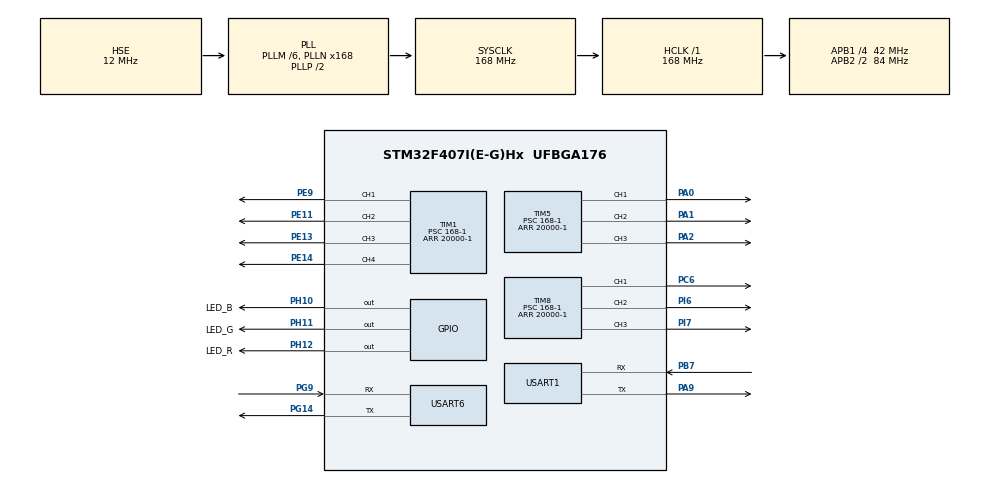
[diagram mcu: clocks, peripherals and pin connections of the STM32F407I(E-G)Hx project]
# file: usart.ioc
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Dma.Request0=USART1_RX
Dma.Request1=USART1_TX
Dma.USART1_RX.0.Direction=DMA_PERIPH_TO_MEMORY
Dma.USART1_RX.0.FIFOMode=DMA_FIFOMODE_DISABLE
Dma.USART1_RX.0.Instance=DMA2_Stream2
Dma.USART1_RX.0.MemDataAlignment=DMA_MDATAALIGN_BYTE
Dma.USART1_RX.0.MemInc=DMA_MINC_ENABLE
Dma.USART1_RX.0.Mode=DMA_NORMAL
Dma.USART1_RX.0.PeriphDataAlignment=DMA_PDATAALIGN_BYTE
Dma.USART1_RX.0.PeriphInc=DMA_PINC_DISABLE
Dma.USART1_RX.0.Priority=DMA_PRIORITY_LOW
Dma.USART1_TX.1.Direction=DMA_MEMORY_TO_PERIPH
Dma.USART1_TX.1.FIFOMode=DMA_FIFOMODE_DISABLE
Dma.USART1_TX.1.Instance=DMA2_Stream7
Dma.USART1_TX.1.MemDataAlignment=DMA_MDATAALIGN_BYTE
Dma.USART1_TX.1.MemInc=DMA_MINC_ENABLE
Dma.USART1_TX.1.Mode=DMA_NORMAL
Dma.USART1_TX.1.PeriphDataAlignment=DMA_PDATAALIGN_BYTE
Dma.USART1_TX.1.PeriphInc=DMA_PINC_DISABLE
Dma.USART1_TX.1.Priority=DMA_PRIORITY_LOW
Mcu.Family=STM32F4
Mcu.Name=STM32F407I(E-G)Hx
Mcu.Package=UFBGA176
NVIC.DMA2_Stream2_IRQn=true\:0\:0\:false\:false\:true\:false\:true\:true
NVIC.DMA2_Stream7_IRQn=true\:0\:0\:false\:false\:true\:false\:true\:true
NVIC.PriorityGroup=NVIC_PRIORITYGROUP_4
NVIC.USART1_IRQn=true\:0\:0\:false\:false\:false\:true\:true\:true
NVIC.USART6_IRQn=true\:0\:0\:false\:false\:false\:true\:true\:true
PA0-WKUP.Signal=S_TIM5_CH1
PA1.Signal=S_TIM5_CH2
PA13.Mode=Serial_Wire
PA13.Signal=SYS_JTMS-SWDIO
PA14.Mode=Serial_Wire
PA14.Signal=SYS_JTCK-SWCLK
PA2.Signal=S_TIM5_CH3
PA9.Mode=Asynchronous
PA9.Signal=USART1_TX
PB7.Mode=Asynchronous
PB7.Signal=USART1_RX
PC6.Signal=S_TIM8_CH1
PD5.Signal=USART2_TX
PD6.Signal=USART2_RX
PE11.Signal=S_TIM1_CH2
PE13.Signal=S_TIM1_CH3
PE14.Signal=S_TIM1_CH4
PE9.Signal=S_TIM1_CH1
PG14.Mode=Asynchronous
PG14.Signal=USART6_TX
PG9.Mode=Asynchronous
PG9.Signal=USART6_RX
PH0-OSC_IN.Mode=HSE-External-Oscillator
PH0-OSC_IN.Signal=RCC_OSC_IN
PH1-OSC_OUT.Mode=HSE-External-Oscillator
PH1-OSC_OUT.Signal=RCC_OSC_OUT
PH10.GPIO_Label=LED_B
PH10.GPIO_PuPd=GPIO_PULLUP
PH10.GPIO_Speed=GPIO_SPEED_FREQ_HIGH
PH10.PinState=GPIO_PIN_SET
PH10.Signal=GPIO_Output
PH11.GPIO_Label=LED_G
PH11.GPIO_PuPd=GPIO_PULLUP
PH11.GPIO_Speed=GPIO_SPEED_FREQ_HIGH
PH11.PinState=GPIO_PIN_SET
PH11.Signal=GPIO_Output
PH12.GPIO_Label=LED_R
PH12.GPIO_PuPd=GPIO_PULLUP
PH12.GPIO_Speed=GPIO_SPEED_FREQ_HIGH
PH12.PinState=GPIO_PIN_SET
PH12.Signal=GPIO_Output
PI6.Signal=S_TIM8_CH2
PI7.Signal=S_TIM8_CH3
ProjectManager.HeapSize=0x200
ProjectManager.StackSize=0x400
ProjectManager.TargetToolchain=MDK-ARM V5
RCC.48MHZClocksFreq_Value=84000000
RCC.AHBFreq_Value=168000000
RCC.APB1CLKDivider=RCC_HCLK_DIV4
RCC.APB1Freq_Value=42000000
RCC.APB1TimFreq_Value=84000000
RCC.APB2CLKDivider=RCC_HCLK_DIV2
RCC.APB2Freq_Value=84000000
RCC.APB2TimFreq_Value=168000000
RCC.CortexFreq_Value=168000000
RCC.HCLKFreq_Value=168000000
RCC.HSE_VALUE=12000000
RCC.HSI_VALUE=16000000
RCC.LSE_VALUE=32768
RCC.PLLM=6
RCC.PLLN=168
RCC.PLLSourceVirtual=RCC_PLLSOURCE_HSE
RCC.SYSCLKFreq_VALUE=168000000
RCC.SYSCLKSource=RCC_SYSCLKSOURCE_PLLCLK
RCC.VCOOutputFreq_Value=336000000
SH.S_TIM1_CH1.0=TIM1_CH1,PWM Generation1 CH1
SH.S_TIM1_CH2.0=TIM1_CH2,PWM Generation2 CH2
SH.S_TIM1_CH3.0=TIM1_CH3,PWM Generation3 CH3
SH.S_TIM1_CH4.0=TIM1_CH4,PWM Generation4 CH4
SH.S_TIM5_CH1.0=TIM5_CH1,PWM Generation1 CH1
SH.S_TIM5_CH2.0=TIM5_CH2,PWM Generation2 CH2
SH.S_TIM5_CH3.0=TIM5_CH3,PWM Generation3 CH3
SH.S_TIM8_CH1.0=TIM8_CH1,PWM Generation1 CH1
SH.S_TIM8_CH2.0=TIM8_CH2,PWM Generation2 CH2
SH.S_TIM8_CH3.0=TIM8_CH3,PWM Generation3 CH3
TIM1.AutoReloadPreload=TIM_AUTORELOAD_PRELOAD_ENABLE
TIM1.Channel-PWM\ Generation1\ CH1=TIM_CHANNEL_1
TIM1.Channel-PWM\ Generation2\ CH2=TIM_CHANNEL_2
TIM1.Channel-PWM\ Generation3\ CH3=TIM_CHANNEL_3
TIM1.Channel-PWM\ Generation4\ CH4=TIM_CHANNEL_4
TIM1.Period=20000-1
TIM1.Prescaler=168-1
TIM5.AutoReloadPreload=TIM_AUTORELOAD_PRELOAD_ENABLE
TIM5.Channel-PWM\ Generation1\ CH1=TIM_CHANNEL_1
TIM5.Channel-PWM\ Generation2\ CH2=TIM_CHANNEL_2
TIM5.Channel-PWM\ Generation3\ CH3=TIM_CHANNEL_3
TIM5.Period=20000-1
TIM5.Prescaler=168-1
TIM8.AutoReloadPreload=TIM_AUTORELOAD_PRELOAD_ENABLE
TIM8.Channel-PWM\ Generation1\ CH1=TIM_CHANNEL_1
TIM8.Channel-PWM\ Generation2\ CH2=TIM_CHANNEL_2
TIM8.Channel-PWM\ Generation3\ CH3=TIM_CHANNEL_3
TIM8.Period=20000-1
TIM8.Prescaler=168-1
USART1.VirtualMode=VM_ASYNC
USART6.VirtualMode=VM_ASYNC
VP_TIM1_VS_ClockSourceINT.Mode=Internal
VP_TIM5_VS_ClockSourceINT.Mode=Internal
board=custom

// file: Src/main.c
/* USER CODE BEGIN Header */
/**
  ******************************************************************************
  * @file           : main.c
  * @brief          : Main program body
  ******************************************************************************
  * @attention
  *
  * <h2><center>&copy; Copyright (c) 2019 STMicroelectronics.
  * All rights reserved.</center></h2>
  *
  * This software component is licensed by ST under BSD 3-Clause license,
  * the "License"; You may not use this file except in compliance with the
  * License. You may obtain a copy of the License at:
  *                        opensource.org/licenses/BSD-3-Clause
  *
  ******************************************************************************
  */
/* USER CODE END Header */
#include "main.h"
#include "dma.h"
#include "tim.h"
#include "usart.h"
#include "gpio.h"

/* USER CODE BEGIN PV */
extern uint8_t Flag;
extern uint8_t message[128];
uint32_t PWM_duty[7] = {100, 100, 100, 50, 50, 50, 50};
/* USER CODE END PV */

void SystemClock_Config(void);

/* USER CODE BEGIN 0 */
void LimitAmplitude(void)
{

}
/* USER CODE END 0 */

int main(void)
{

  /* MCU Configuration--------------------------------------------------------*/

  /* Reset of all peripherals, Initializes the Flash interface and the Systick. */
  HAL_Init();

  /* Configure the system clock */
  SystemClock_Config();

  /* Initialize all configured peripherals */
  MX_GPIO_Init();
  MX_DMA_Init();
  MX_USART1_UART_Init();
  MX_USART6_UART_Init();
  MX_TIM1_Init();
  MX_TIM8_Init();
  MX_TIM5_Init();
  /* USER CODE BEGIN 2 */

    HAL_GPIO_WritePin(LED_R_GPIO_Port, LED_R_Pin, GPIO_PIN_RESET);
    HAL_GPIO_WritePin(LED_G_GPIO_Port, LED_G_Pin, GPIO_PIN_RESET);
    HAL_GPIO_WritePin(LED_B_GPIO_Port, LED_B_Pin, GPIO_PIN_RESET);
    //enable receive interrupt and idle interrupt
    //ʹ�ܽ����жϺͿ����ж�
    __HAL_UART_ENABLE_IT(&huart1, UART_IT_RXNE);  //receive interrupt
    __HAL_UART_ENABLE_IT(&huart1, UART_IT_IDLE);  //idle interrupt
    __HAL_UART_ENABLE_IT(&huart6, UART_IT_RXNE);  //receive interrupt
    __HAL_UART_ENABLE_IT(&huart6, UART_IT_IDLE);  //idle interrupt

	//开启PWM通道
    HAL_TIM_Base_Start(&htim1);
    HAL_TIM_PWM_Start(&htim1, TIM_CHANNEL_1);
    HAL_TIM_PWM_Start(&htim1, TIM_CHANNEL_2);
    HAL_TIM_PWM_Start(&htim1, TIM_CHANNEL_3);
    HAL_TIM_PWM_Start(&htim1, TIM_CHANNEL_4);
    HAL_TIM_Base_Start(&htim8);
    HAL_TIM_PWM_Start(&htim8, TIM_CHANNEL_1);
    HAL_TIM_PWM_Start(&htim8, TIM_CHANNEL_2);
    HAL_TIM_PWM_Start(&htim8, TIM_CHANNEL_3);
	HAL_TIM_Base_Start(&htim5);
	HAL_TIM_PWM_Start(&htim5, TIM_CHANNEL_1);
    HAL_TIM_PWM_Start(&htim5, TIM_CHANNEL_2);
    HAL_TIM_PWM_Start(&htim5, TIM_CHANNEL_3);

	// 使用Ex函数，接收不定长数据
	HAL_UARTEx_ReceiveToIdle_DMA(&huart1, message, sizeof(message));
	// 关闭DMA传输过半中断（HAL库默认开启，但我们只需要接收完成中断）
	__HAL_DMA_DISABLE_IT(huart1.hdmarx, DMA_IT_HT);

  /* USER CODE END 2 */

  /* Infinite loop */
  /* USER CODE BEGIN WHILE */
  while (1)
  {
	  if (Flag)
	  {
		uint32_t tempdata = SetSepeedTarget();
		__HAL_TIM_SET_COMPARE(&htim1, TIM_CHANNEL_1, SetSepeedTarget());
		Flag = 0x00;
	  }

    /* USER CODE END WHILE */

  }
}

void SystemClock_Config(void)
{
  RCC_OscInitTypeDef RCC_OscInitStruct = {0};
  RCC_ClkInitTypeDef RCC_ClkInitStruct = {0};

  /** Configure the main internal regulator output voltage
  */
  __HAL_RCC_PWR_CLK_ENABLE();
  __HAL_PWR_VOLTAGESCALING_CONFIG(PWR_REGULATOR_VOLTAGE_SCALE1);

  /** Initializes the RCC Oscillators according to the specified parameters
  * in the RCC_OscInitTypeDef structure.
  */
  RCC_OscInitStruct.OscillatorType = RCC_OSCILLATORTYPE_HSE;
  RCC_OscInitStruct.HSEState = RCC_HSE_ON;
  RCC_OscInitStruct.PLL.PLLState = RCC_PLL_ON;
  RCC_OscInitStruct.PLL.PLLSource = RCC_PLLSOURCE_HSE;
  RCC_OscInitStruct.PLL.PLLM = 6;
  RCC_OscInitStruct.PLL.PLLN = 168;
  RCC_OscInitStruct.PLL.PLLP = RCC_PLLP_DIV2;
  RCC_OscInitStruct.PLL.PLLQ = 4;
  if (HAL_RCC_OscConfig(&RCC_OscInitStruct) != HAL_OK)
  {
    Error_Handler();
  }

  /** Initializes the CPU, AHB and APB buses clocks
  */
  RCC_ClkInitStruct.ClockType = RCC_CLOCKTYPE_HCLK|RCC_CLOCKTYPE_SYSCLK
                              |RCC_CLOCKTYPE_PCLK1|RCC_CLOCKTYPE_PCLK2;
  RCC_ClkInitStruct.SYSCLKSource = RCC_SYSCLKSOURCE_PLLCLK;
  RCC_ClkInitStruct.AHBCLKDivider = RCC_SYSCLK_DIV1;
  RCC_ClkInitStruct.APB1CLKDivider = RCC_HCLK_DIV4;
  RCC_ClkInitStruct.APB2CLKDivider = RCC_HCLK_DIV2;

  if (HAL_RCC_ClockConfig(&RCC_ClkInitStruct, FLASH_LATENCY_5) != HAL_OK)
  {
    Error_Handler();
  }
}

void Error_Handler(void)
{
}
